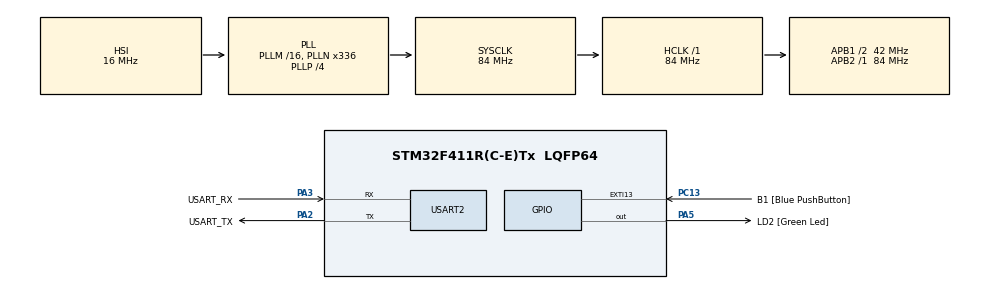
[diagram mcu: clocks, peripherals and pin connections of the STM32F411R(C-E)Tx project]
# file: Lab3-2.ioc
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FREERTOS.Tasks01=defaultTask,0,128,StartDefaultTask,Default,NULL,Dynamic,NULL,NULL
FREERTOS.configUSE_TIMERS=1
Mcu.Family=STM32F4
Mcu.Name=STM32F411R(C-E)Tx
Mcu.Package=LQFP64
NVIC.PriorityGroup=NVIC_PRIORITYGROUP_4
PA13.GPIO_Label=TMS
PA13.Mode=Serial_Wire
PA13.Signal=SYS_JTMS-SWDIO
PA14.GPIO_Label=TCK
PA14.Mode=Serial_Wire
PA14.Signal=SYS_JTCK-SWCLK
PA2.GPIO_Label=USART_TX
PA2.Mode=Asynchronous
PA2.Signal=USART2_TX
PA3.GPIO_Label=USART_RX
PA3.Mode=Asynchronous
PA3.Signal=USART2_RX
PA5.GPIO_Label=LD2 [Green Led]
PA5.Signal=GPIO_Output
PB3.GPIO_Label=SWO
PB3.Signal=SYS_JTDO-SWO
PC13-ANTI_TAMP.GPIO_Label=B1 [Blue PushButton]
PC13-ANTI_TAMP.GPIO_ModeDefaultEXTI=GPIO_MODE_IT_FALLING
PC13-ANTI_TAMP.Signal=GPXTI13
PC14-OSC32_IN.Mode=LSE-External-Oscillator
PC14-OSC32_IN.Signal=RCC_OSC32_IN
PC15-OSC32_OUT.Mode=LSE-External-Oscillator
PC15-OSC32_OUT.Signal=RCC_OSC32_OUT
PH0\ -\ OSC_IN.Mode=HSE-External-Clock-Source
PH0\ -\ OSC_IN.Signal=RCC_OSC_IN
PH1\ -\ OSC_OUT.Mode=HSE-External-Clock-Source
PH1\ -\ OSC_OUT.Signal=RCC_OSC_OUT
ProjectManager.HeapSize=0x200
ProjectManager.StackSize=0x400
ProjectManager.TargetToolchain=STM32CubeIDE
RCC.48MHZClocksFreq_Value=84000000
RCC.AHBFreq_Value=84000000
RCC.APB1CLKDivider=RCC_HCLK_DIV2
RCC.APB1Freq_Value=42000000
RCC.APB1TimFreq_Value=84000000
RCC.APB2Freq_Value=84000000
RCC.APB2TimFreq_Value=84000000
RCC.CortexFreq_Value=84000000
RCC.FLatency-AdvancedSettings=FLASH_LATENCY_2
RCC.HCLKFreq_Value=84000000
RCC.HSE_VALUE=8000000
RCC.HSI_VALUE=16000000
RCC.PLLN=336
RCC.PLLP=RCC_PLLP_DIV4
RCC.SYSCLKFreq_VALUE=84000000
RCC.SYSCLKSource=RCC_SYSCLKSOURCE_PLLCLK
RCC.VCOOutputFreq_Value=336000000
USART2.VirtualMode=VM_ASYNC
VP_FREERTOS_VS_CMSIS_V1.Mode=CMSIS_V1
board=NUCLEO-F411RE

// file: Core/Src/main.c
/* USER CODE BEGIN Header */
/**
 ******************************************************************************
 * @file           : main.c
 * @brief          : Main program body
 ******************************************************************************
 * @attention
 *
 * <h2><center>&copy; Copyright (c) 2021 STMicroelectronics.
 * All rights reserved.</center></h2>
 *
 * This software component is licensed by ST under BSD 3-Clause license,
 * the "License"; You may not use this file except in compliance with the
 * License. You may obtain a copy of the License at:
 *                        opensource.org/licenses/BSD-3-Clause
 *
 ******************************************************************************
 */
/* USER CODE END Header */
#include "main.h"
#include "cmsis_os.h"

UART_HandleTypeDef huart2;

osThreadId defaultTaskHandle;

void SystemClock_Config(void);
static void MX_GPIO_Init(void);
static void MX_USART2_UART_Init(void);
void StartDefaultTask(void const *argument);

int main(void) {

	/* MCU Configuration--------------------------------------------------------*/

	/* Reset of all peripherals, Initializes the Flash interface and the Systick. */
	HAL_Init();

	/* Configure the system clock */
	SystemClock_Config();

	/* Initialize all configured peripherals */
	MX_GPIO_Init();
	MX_USART2_UART_Init();

	/* Create the thread(s) */
	/* definition and creation of defaultTask */
	osThreadDef(defaultTask, StartDefaultTask, osPriorityNormal, 0, 128);
	defaultTaskHandle = osThreadCreate(osThread(defaultTask), NULL);

	/* Start scheduler */
	osKernelStart();

	/* We should never get here as control is now taken by the scheduler */
	/* Infinite loop */
	while (1) {

	}
}

void SystemClock_Config(void) {
	RCC_OscInitTypeDef RCC_OscInitStruct = { 0 };
	RCC_ClkInitTypeDef RCC_ClkInitStruct = { 0 };

	/** Configure the main internal regulator output voltage
	 */
	__HAL_RCC_PWR_CLK_ENABLE();
	__HAL_PWR_VOLTAGESCALING_CONFIG(PWR_REGULATOR_VOLTAGE_SCALE1);
	/** Initializes the RCC Oscillators according to the specified parameters
	 * in the RCC_OscInitTypeDef structure.
	 */
	RCC_OscInitStruct.OscillatorType = RCC_OSCILLATORTYPE_HSI;
	RCC_OscInitStruct.HSIState = RCC_HSI_ON;
	RCC_OscInitStruct.HSICalibrationValue = RCC_HSICALIBRATION_DEFAULT;
	RCC_OscInitStruct.PLL.PLLState = RCC_PLL_ON;
	RCC_OscInitStruct.PLL.PLLSource = RCC_PLLSOURCE_HSI;
	RCC_OscInitStruct.PLL.PLLM = 16;
	RCC_OscInitStruct.PLL.PLLN = 336;
	RCC_OscInitStruct.PLL.PLLP = RCC_PLLP_DIV4;
	RCC_OscInitStruct.PLL.PLLQ = 4;
	if (HAL_RCC_OscConfig(&RCC_OscInitStruct) != HAL_OK) {
		Error_Handler();
	}
	/** Initializes the CPU, AHB and APB buses clocks
	 */
	RCC_ClkInitStruct.ClockType = RCC_CLOCKTYPE_HCLK | RCC_CLOCKTYPE_SYSCLK
			| RCC_CLOCKTYPE_PCLK1 | RCC_CLOCKTYPE_PCLK2;
	RCC_ClkInitStruct.SYSCLKSource = RCC_SYSCLKSOURCE_PLLCLK;
	RCC_ClkInitStruct.AHBCLKDivider = RCC_SYSCLK_DIV1;
	RCC_ClkInitStruct.APB1CLKDivider = RCC_HCLK_DIV2;
	RCC_ClkInitStruct.APB2CLKDivider = RCC_HCLK_DIV1;

	if (HAL_RCC_ClockConfig(&RCC_ClkInitStruct, FLASH_LATENCY_2) != HAL_OK) {
		Error_Handler();
	}
}

static void MX_USART2_UART_Init(void) {

	huart2.Instance = USART2;
	huart2.Init.BaudRate = 115200;
	huart2.Init.WordLength = UART_WORDLENGTH_8B;
	huart2.Init.StopBits = UART_STOPBITS_1;
	huart2.Init.Parity = UART_PARITY_NONE;
	huart2.Init.Mode = UART_MODE_TX_RX;
	huart2.Init.HwFlowCtl = UART_HWCONTROL_NONE;
	huart2.Init.OverSampling = UART_OVERSAMPLING_16;
	if (HAL_UART_Init(&huart2) != HAL_OK) {
		Error_Handler();
	}

}

static void MX_GPIO_Init(void) {
	GPIO_InitTypeDef GPIO_InitStruct = { 0 };

	/* GPIO Ports Clock Enable */
	__HAL_RCC_GPIOC_CLK_ENABLE();
	__HAL_RCC_GPIOH_CLK_ENABLE();
	__HAL_RCC_GPIOA_CLK_ENABLE();
	__HAL_RCC_GPIOB_CLK_ENABLE();

	/*Configure GPIO pin Output Level */
	HAL_GPIO_WritePin(LD2_GPIO_Port, LD2_Pin, GPIO_PIN_RESET);

	/*Configure GPIO pin : B1_Pin */
	GPIO_InitStruct.Pin = B1_Pin;
	GPIO_InitStruct.Mode = GPIO_MODE_IT_FALLING;
	GPIO_InitStruct.Pull = GPIO_NOPULL;
	HAL_GPIO_Init(B1_GPIO_Port, &GPIO_InitStruct);

	/*Configure GPIO pin : LD2_Pin */
	GPIO_InitStruct.Pin = LD2_Pin;
	GPIO_InitStruct.Mode = GPIO_MODE_OUTPUT_PP;
	GPIO_InitStruct.Pull = GPIO_NOPULL;
	GPIO_InitStruct.Speed = GPIO_SPEED_FREQ_LOW;
	HAL_GPIO_Init(LD2_GPIO_Port, &GPIO_InitStruct);

}

/* USER CODE BEGIN 4 */

void t1_thread(void const *args) {
	char c = 'A';
	HAL_UART_Transmit(&huart2, &c, 1, 50);
}
void t2_thread(void const *args) {
	HAL_GPIO_TogglePin(GPIOA, GPIO_PIN_5);
}
void t3_thread(void const *args) {
	char c = 'B';
	HAL_UART_Transmit(&huart2, &c, 1, 128);
}

/* USER CODE END 4 */

void StartDefaultTask(void const *argument) {
	/* USER CODE BEGIN 5 */
	osTimerDef(t1, t1_thread);
	osTimerId osTimer1 = osTimerCreate(osTimer(t1), osTimerPeriodic,
	NULL);
	osTimerDef(t2, t2_thread);
	osTimerId osTimer2 = osTimerCreate(osTimer(t2), osTimerPeriodic,
	NULL);
	osTimerDef(t3, t3_thread);
	osTimerId osTimer3 = osTimerCreate(osTimer(t3), osTimerPeriodic,
	NULL);
	osTimerStart(osTimer1,50);
	osTimerStart(osTimer2,18);
	osTimerStart(osTimer3,128);
	/* Infinite loop */
	for (;;) {
		osDelay(1);
	}
	/* USER CODE END 5 */
}

void Error_Handler(void) {
	__disable_irq();
	while (1) {
	}
}

/************************ (C) COPYRIGHT STMicroelectronics *****END OF FILE****/
